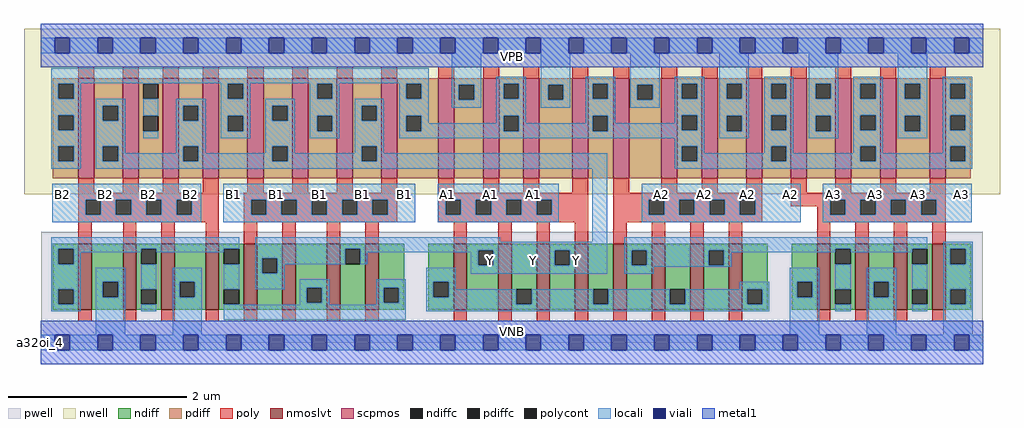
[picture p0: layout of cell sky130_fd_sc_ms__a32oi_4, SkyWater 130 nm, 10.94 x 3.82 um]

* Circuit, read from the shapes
.subckt sky130_fd_sc_ms__a32oi_4 A1 A2 A3 B1 B2 VGND VNB VPB VPWR Y
XM1 VGND B2 n1 VNB sky130_fd_pr__nfet_01v8_lvt w=0.74 l=0.15 m=4
XM2 Y B1 n1 VNB sky130_fd_pr__nfet_01v8_lvt w=0.74 l=0.15 m=4
XM3 Y A1 n2 VNB sky130_fd_pr__nfet_01v8_lvt w=0.74 l=0.15 m=4
XM4 n3 A2 n2 VNB sky130_fd_pr__nfet_01v8_lvt w=0.74 l=0.15 m=4
XM5 n3 A3 VGND VNB sky130_fd_pr__nfet_01v8_lvt w=0.74 l=0.15 m=4
XM6 Y B2 n4 VPB sky130_fd_pr__pfet_01v8 w=1.12 l=0.18 m=4
XM7 Y B1 n4 VPB sky130_fd_pr__pfet_01v8 w=1.12 l=0.18 m=4
XM8 VPWR A1 n4 VPB sky130_fd_pr__pfet_01v8 w=1.12 l=0.18 m=4
XM9 VPWR A2 n4 VPB sky130_fd_pr__pfet_01v8 w=1.12 l=0.18 m=4
XM10 VPWR A3 n4 VPB sky130_fd_pr__pfet_01v8 w=1.12 l=0.18 m=4
.ends

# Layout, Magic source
magic
tech sky130A
magscale 1 2
<< nwell >>
rect -38 332 2150 704
<< pwell >>
rect 1 49 2111 248
rect 0 0 2112 49
<< scpmos >>
rect 84 368 120 592
rect 183 368 219 592
rect 273 368 309 592
rect 363 368 399 592
rect 463 368 499 592
rect 563 368 599 592
rect 663 368 699 592
rect 763 368 799 592
rect 891 368 927 592
rect 991 368 1027 592
rect 1081 368 1117 592
rect 1191 368 1227 592
rect 1283 368 1319 592
rect 1391 368 1427 592
rect 1481 368 1517 592
rect 1581 368 1617 592
rect 1681 368 1717 592
rect 1781 368 1817 592
rect 1881 368 1917 592
rect 1992 368 2028 592
<< nmoslvt >>
rect 84 74 114 222
rect 184 74 214 222
rect 270 74 300 222
rect 369 74 399 222
rect 455 74 485 222
rect 541 74 571 222
rect 641 74 671 222
rect 727 74 757 222
rect 925 74 955 222
rect 1025 74 1055 222
rect 1111 74 1141 222
rect 1197 74 1227 222
rect 1283 74 1313 222
rect 1369 74 1399 222
rect 1456 74 1486 222
rect 1542 74 1572 222
rect 1740 74 1770 222
rect 1826 74 1856 222
rect 1912 74 1942 222
rect 1998 74 2028 222
<< ndiff >>
rect 27 210 84 222
rect 27 176 39 210
rect 73 176 84 210
rect 27 120 84 176
rect 27 86 39 120
rect 73 86 84 120
rect 27 74 84 86
rect 114 136 184 222
rect 114 102 139 136
rect 173 102 184 136
rect 114 74 184 102
rect 214 210 270 222
rect 214 176 225 210
rect 259 176 270 210
rect 214 120 270 176
rect 214 86 225 120
rect 259 86 270 120
rect 214 74 270 86
rect 300 136 369 222
rect 300 102 311 136
rect 345 102 369 136
rect 300 74 369 102
rect 399 210 455 222
rect 399 176 410 210
rect 444 176 455 210
rect 399 120 455 176
rect 399 86 410 120
rect 444 86 455 120
rect 399 74 455 86
rect 485 189 541 222
rect 485 155 496 189
rect 530 155 541 189
rect 485 74 541 155
rect 571 123 641 222
rect 571 89 596 123
rect 630 89 641 123
rect 571 74 641 89
rect 671 210 727 222
rect 671 176 682 210
rect 716 176 727 210
rect 671 74 727 176
rect 757 123 814 222
rect 757 89 768 123
rect 802 89 814 123
rect 757 74 814 89
rect 868 136 925 222
rect 868 102 880 136
rect 914 102 925 136
rect 868 74 925 102
rect 955 207 1025 222
rect 955 173 980 207
rect 1014 173 1025 207
rect 955 74 1025 173
rect 1055 120 1111 222
rect 1055 86 1066 120
rect 1100 86 1111 120
rect 1055 74 1111 86
rect 1141 207 1197 222
rect 1141 173 1152 207
rect 1186 173 1197 207
rect 1141 74 1197 173
rect 1227 120 1283 222
rect 1227 86 1238 120
rect 1272 86 1283 120
rect 1227 74 1283 86
rect 1313 207 1369 222
rect 1313 173 1324 207
rect 1358 173 1369 207
rect 1313 74 1369 173
rect 1399 120 1456 222
rect 1399 86 1410 120
rect 1444 86 1456 120
rect 1399 74 1456 86
rect 1486 207 1542 222
rect 1486 173 1497 207
rect 1531 173 1542 207
rect 1486 74 1542 173
rect 1572 120 1629 222
rect 1572 86 1583 120
rect 1617 86 1629 120
rect 1572 74 1629 86
rect 1683 136 1740 222
rect 1683 102 1695 136
rect 1729 102 1740 136
rect 1683 74 1740 102
rect 1770 210 1826 222
rect 1770 176 1781 210
rect 1815 176 1826 210
rect 1770 120 1826 176
rect 1770 86 1781 120
rect 1815 86 1826 120
rect 1770 74 1826 86
rect 1856 136 1912 222
rect 1856 102 1867 136
rect 1901 102 1912 136
rect 1856 74 1912 102
rect 1942 210 1998 222
rect 1942 176 1953 210
rect 1987 176 1998 210
rect 1942 120 1998 176
rect 1942 86 1953 120
rect 1987 86 1998 120
rect 1942 74 1998 86
rect 2028 210 2085 222
rect 2028 176 2039 210
rect 2073 176 2085 210
rect 2028 120 2085 176
rect 2028 86 2039 120
rect 2073 86 2085 120
rect 2028 74 2085 86
<< pdiff >>
rect 27 580 84 592
rect 27 546 39 580
rect 73 546 84 580
rect 27 510 84 546
rect 27 476 39 510
rect 73 476 84 510
rect 27 440 84 476
rect 27 406 39 440
rect 73 406 84 440
rect 27 368 84 406
rect 120 531 183 592
rect 120 497 139 531
rect 173 497 183 531
rect 120 440 183 497
rect 120 406 139 440
rect 173 406 183 440
rect 120 368 183 406
rect 219 580 273 592
rect 219 546 229 580
rect 263 546 273 580
rect 219 508 273 546
rect 219 474 229 508
rect 263 474 273 508
rect 219 368 273 474
rect 309 531 363 592
rect 309 497 319 531
rect 353 497 363 531
rect 309 440 363 497
rect 309 406 319 440
rect 353 406 363 440
rect 309 368 363 406
rect 399 580 463 592
rect 399 546 419 580
rect 453 546 463 580
rect 399 508 463 546
rect 399 474 419 508
rect 453 474 463 508
rect 399 368 463 474
rect 499 531 563 592
rect 499 497 519 531
rect 553 497 563 531
rect 499 440 563 497
rect 499 406 519 440
rect 553 406 563 440
rect 499 368 563 406
rect 599 580 663 592
rect 599 546 619 580
rect 653 546 663 580
rect 599 508 663 546
rect 599 474 619 508
rect 653 474 663 508
rect 599 368 663 474
rect 699 531 763 592
rect 699 497 719 531
rect 753 497 763 531
rect 699 440 763 497
rect 699 406 719 440
rect 753 406 763 440
rect 699 368 763 406
rect 799 580 891 592
rect 799 546 819 580
rect 853 546 891 580
rect 799 508 891 546
rect 799 474 819 508
rect 853 474 891 508
rect 799 368 891 474
rect 927 578 991 592
rect 927 544 937 578
rect 971 544 991 578
rect 927 368 991 544
rect 1027 580 1081 592
rect 1027 546 1037 580
rect 1071 546 1081 580
rect 1027 508 1081 546
rect 1027 474 1037 508
rect 1071 474 1081 508
rect 1027 368 1081 474
rect 1117 578 1191 592
rect 1117 544 1137 578
rect 1171 544 1191 578
rect 1117 368 1191 544
rect 1227 580 1283 592
rect 1227 546 1237 580
rect 1271 546 1283 580
rect 1227 508 1283 546
rect 1227 474 1237 508
rect 1271 474 1283 508
rect 1227 368 1283 474
rect 1319 578 1391 592
rect 1319 544 1337 578
rect 1371 544 1391 578
rect 1319 368 1391 544
rect 1427 580 1481 592
rect 1427 546 1437 580
rect 1471 546 1481 580
rect 1427 510 1481 546
rect 1427 476 1437 510
rect 1471 476 1481 510
rect 1427 440 1481 476
rect 1427 406 1437 440
rect 1471 406 1481 440
rect 1427 368 1481 406
rect 1517 580 1581 592
rect 1517 546 1537 580
rect 1571 546 1581 580
rect 1517 508 1581 546
rect 1517 474 1537 508
rect 1571 474 1581 508
rect 1517 368 1581 474
rect 1617 580 1681 592
rect 1617 546 1637 580
rect 1671 546 1681 580
rect 1617 510 1681 546
rect 1617 476 1637 510
rect 1671 476 1681 510
rect 1617 440 1681 476
rect 1617 406 1637 440
rect 1671 406 1681 440
rect 1617 368 1681 406
rect 1717 580 1781 592
rect 1717 546 1737 580
rect 1771 546 1781 580
rect 1717 508 1781 546
rect 1717 474 1737 508
rect 1771 474 1781 508
rect 1717 368 1781 474
rect 1817 580 1881 592
rect 1817 546 1837 580
rect 1871 546 1881 580
rect 1817 510 1881 546
rect 1817 476 1837 510
rect 1871 476 1881 510
rect 1817 440 1881 476
rect 1817 406 1837 440
rect 1871 406 1881 440
rect 1817 368 1881 406
rect 1917 580 1992 592
rect 1917 546 1937 580
rect 1971 546 1992 580
rect 1917 508 1992 546
rect 1917 474 1937 508
rect 1971 474 1992 508
rect 1917 368 1992 474
rect 2028 580 2084 592
rect 2028 546 2038 580
rect 2072 546 2084 580
rect 2028 510 2084 546
rect 2028 476 2038 510
rect 2072 476 2084 510
rect 2028 440 2084 476
rect 2028 406 2038 440
rect 2072 406 2084 440
rect 2028 368 2084 406
<< ndiffc >>
rect 39 176 73 210
rect 39 86 73 120
rect 139 102 173 136
rect 225 176 259 210
rect 225 86 259 120
rect 311 102 345 136
rect 410 176 444 210
rect 410 86 444 120
rect 496 155 530 189
rect 596 89 630 123
rect 682 176 716 210
rect 768 89 802 123
rect 880 102 914 136
rect 980 173 1014 207
rect 1066 86 1100 120
rect 1152 173 1186 207
rect 1238 86 1272 120
rect 1324 173 1358 207
rect 1410 86 1444 120
rect 1497 173 1531 207
rect 1583 86 1617 120
rect 1695 102 1729 136
rect 1781 176 1815 210
rect 1781 86 1815 120
rect 1867 102 1901 136
rect 1953 176 1987 210
rect 1953 86 1987 120
rect 2039 176 2073 210
rect 2039 86 2073 120
<< pdiffc >>
rect 39 546 73 580
rect 39 476 73 510
rect 39 406 73 440
rect 139 497 173 531
rect 139 406 173 440
rect 229 546 263 580
rect 229 474 263 508
rect 319 497 353 531
rect 319 406 353 440
rect 419 546 453 580
rect 419 474 453 508
rect 519 497 553 531
rect 519 406 553 440
rect 619 546 653 580
rect 619 474 653 508
rect 719 497 753 531
rect 719 406 753 440
rect 819 546 853 580
rect 819 474 853 508
rect 937 544 971 578
rect 1037 546 1071 580
rect 1037 474 1071 508
rect 1137 544 1171 578
rect 1237 546 1271 580
rect 1237 474 1271 508
rect 1337 544 1371 578
rect 1437 546 1471 580
rect 1437 476 1471 510
rect 1437 406 1471 440
rect 1537 546 1571 580
rect 1537 474 1571 508
rect 1637 546 1671 580
rect 1637 476 1671 510
rect 1637 406 1671 440
rect 1737 546 1771 580
rect 1737 474 1771 508
rect 1837 546 1871 580
rect 1837 476 1871 510
rect 1837 406 1871 440
rect 1937 546 1971 580
rect 1937 474 1971 508
rect 2038 546 2072 580
rect 2038 476 2072 510
rect 2038 406 2072 440
<< poly >>
rect 84 592 120 618
rect 183 592 219 618
rect 273 592 309 618
rect 363 592 399 618
rect 463 592 499 618
rect 563 592 599 618
rect 663 592 699 618
rect 763 592 799 618
rect 891 592 927 618
rect 991 592 1027 618
rect 1081 592 1117 618
rect 1191 592 1227 618
rect 1283 592 1319 618
rect 1391 592 1427 618
rect 1481 592 1517 618
rect 1581 592 1617 618
rect 1681 592 1717 618
rect 1781 592 1817 618
rect 1881 592 1917 618
rect 1992 592 2028 618
rect 84 336 120 368
rect 183 336 219 368
rect 273 336 309 368
rect 363 336 399 368
rect 463 336 499 368
rect 563 336 599 368
rect 663 336 699 368
rect 763 336 799 368
rect 84 320 399 336
rect 84 286 100 320
rect 134 286 168 320
rect 202 286 236 320
rect 270 286 304 320
rect 338 286 399 320
rect 84 270 399 286
rect 84 222 114 270
rect 184 222 214 270
rect 270 222 300 270
rect 369 222 399 270
rect 455 320 799 336
rect 455 286 471 320
rect 505 286 539 320
rect 573 286 607 320
rect 641 286 675 320
rect 709 286 743 320
rect 777 286 799 320
rect 455 270 799 286
rect 891 336 927 368
rect 991 336 1027 368
rect 1081 336 1117 368
rect 1191 336 1227 368
rect 891 320 1227 336
rect 891 286 907 320
rect 941 286 975 320
rect 1009 286 1043 320
rect 1077 286 1111 320
rect 1145 286 1227 320
rect 891 270 1227 286
rect 455 222 485 270
rect 541 222 571 270
rect 641 222 671 270
rect 727 222 757 270
rect 925 222 955 270
rect 1025 222 1055 270
rect 1111 222 1141 270
rect 1197 222 1227 270
rect 1283 336 1319 368
rect 1391 336 1427 368
rect 1481 336 1517 368
rect 1581 336 1617 368
rect 1283 320 1617 336
rect 1283 286 1363 320
rect 1397 286 1431 320
rect 1465 286 1499 320
rect 1533 286 1567 320
rect 1601 286 1617 320
rect 1681 336 1717 368
rect 1781 336 1817 368
rect 1881 336 1917 368
rect 1992 336 2028 368
rect 1681 320 2028 336
rect 1681 306 1769 320
rect 1283 270 1617 286
rect 1740 286 1769 306
rect 1803 286 1837 320
rect 1871 286 1905 320
rect 1939 286 1973 320
rect 2007 286 2028 320
rect 1740 270 2028 286
rect 1283 222 1313 270
rect 1369 222 1399 270
rect 1456 222 1486 270
rect 1542 222 1572 270
rect 1740 222 1770 270
rect 1826 222 1856 270
rect 1912 222 1942 270
rect 1998 222 2028 270
rect 84 48 114 74
rect 184 48 214 74
rect 270 48 300 74
rect 369 48 399 74
rect 455 48 485 74
rect 541 48 571 74
rect 641 48 671 74
rect 727 48 757 74
rect 925 48 955 74
rect 1025 48 1055 74
rect 1111 48 1141 74
rect 1197 48 1227 74
rect 1283 48 1313 74
rect 1369 48 1399 74
rect 1456 48 1486 74
rect 1542 48 1572 74
rect 1740 48 1770 74
rect 1826 48 1856 74
rect 1912 48 1942 74
rect 1998 48 2028 74
<< polycont >>
rect 100 286 134 320
rect 168 286 202 320
rect 236 286 270 320
rect 304 286 338 320
rect 471 286 505 320
rect 539 286 573 320
rect 607 286 641 320
rect 675 286 709 320
rect 743 286 777 320
rect 907 286 941 320
rect 975 286 1009 320
rect 1043 286 1077 320
rect 1111 286 1145 320
rect 1363 286 1397 320
rect 1431 286 1465 320
rect 1499 286 1533 320
rect 1567 286 1601 320
rect 1769 286 1803 320
rect 1837 286 1871 320
rect 1905 286 1939 320
rect 1973 286 2007 320
<< locali >>
rect 0 649 31 683
rect 65 649 127 683
rect 161 649 223 683
rect 257 649 319 683
rect 353 649 415 683
rect 449 649 511 683
rect 545 649 607 683
rect 641 649 703 683
rect 737 649 799 683
rect 833 649 895 683
rect 929 649 991 683
rect 1025 649 1087 683
rect 1121 649 1183 683
rect 1217 649 1279 683
rect 1313 649 1375 683
rect 1409 649 1471 683
rect 1505 649 1567 683
rect 1601 649 1663 683
rect 1697 649 1759 683
rect 1793 649 1855 683
rect 1889 649 1951 683
rect 1985 649 2047 683
rect 2081 649 2112 683
rect 23 581 869 615
rect 23 580 89 581
rect 23 546 39 580
rect 73 546 89 580
rect 229 580 263 581
rect 23 510 89 546
rect 23 476 39 510
rect 73 476 89 510
rect 23 440 89 476
rect 23 406 39 440
rect 73 406 89 440
rect 23 390 89 406
rect 123 531 189 547
rect 123 497 139 531
rect 173 497 189 531
rect 123 440 189 497
rect 403 580 469 581
rect 229 508 263 546
rect 229 458 263 474
rect 303 531 369 547
rect 303 497 319 531
rect 353 497 369 531
rect 123 406 139 440
rect 173 424 189 440
rect 303 440 369 497
rect 403 546 419 580
rect 453 546 469 580
rect 603 580 669 581
rect 403 508 469 546
rect 403 474 419 508
rect 453 474 469 508
rect 403 458 469 474
rect 503 531 569 547
rect 503 497 519 531
rect 553 497 569 531
rect 303 424 319 440
rect 173 406 319 424
rect 353 424 369 440
rect 503 440 569 497
rect 603 546 619 580
rect 653 546 669 580
rect 803 580 869 581
rect 603 508 669 546
rect 603 474 619 508
rect 653 474 669 508
rect 603 458 669 474
rect 703 531 769 547
rect 703 497 719 531
rect 753 497 769 531
rect 503 424 519 440
rect 353 406 519 424
rect 553 424 569 440
rect 703 440 769 497
rect 803 546 819 580
rect 853 546 869 580
rect 803 508 869 546
rect 921 578 987 649
rect 921 544 937 578
rect 971 544 987 578
rect 921 526 987 544
rect 1021 580 1087 596
rect 1021 546 1037 580
rect 1071 546 1087 580
rect 803 474 819 508
rect 853 492 869 508
rect 1021 508 1087 546
rect 1121 578 1187 649
rect 1121 544 1137 578
rect 1171 544 1187 578
rect 1121 526 1187 544
rect 1221 580 1287 596
rect 1221 546 1237 580
rect 1271 546 1287 580
rect 1021 492 1037 508
rect 853 474 1037 492
rect 1071 492 1087 508
rect 1221 508 1287 546
rect 1321 578 1387 649
rect 1321 544 1337 578
rect 1371 544 1387 578
rect 1321 526 1387 544
rect 1421 580 1487 596
rect 1421 546 1437 580
rect 1471 546 1487 580
rect 1221 492 1237 508
rect 1071 474 1237 492
rect 1271 492 1287 508
rect 1421 510 1487 546
rect 1421 492 1437 510
rect 1271 476 1437 492
rect 1471 476 1487 510
rect 1271 474 1487 476
rect 803 458 1487 474
rect 1521 580 1587 649
rect 1521 546 1537 580
rect 1571 546 1587 580
rect 1521 508 1587 546
rect 1521 474 1537 508
rect 1571 474 1587 508
rect 1521 458 1587 474
rect 1621 580 1687 596
rect 1621 546 1637 580
rect 1671 546 1687 580
rect 1621 510 1687 546
rect 1621 476 1637 510
rect 1671 476 1687 510
rect 703 424 719 440
rect 553 406 719 424
rect 753 424 769 440
rect 1421 440 1487 458
rect 753 406 1270 424
rect 123 390 1270 406
rect 1421 406 1437 440
rect 1471 424 1487 440
rect 1621 440 1687 476
rect 1721 580 1787 649
rect 1721 546 1737 580
rect 1771 546 1787 580
rect 1721 508 1787 546
rect 1721 474 1737 508
rect 1771 474 1787 508
rect 1721 458 1787 474
rect 1821 580 1887 596
rect 1821 546 1837 580
rect 1871 546 1887 580
rect 1821 510 1887 546
rect 1821 476 1837 510
rect 1871 476 1887 510
rect 1621 424 1637 440
rect 1471 406 1637 424
rect 1671 424 1687 440
rect 1821 440 1887 476
rect 1921 580 1987 649
rect 1921 546 1937 580
rect 1971 546 1987 580
rect 1921 508 1987 546
rect 1921 474 1937 508
rect 1971 474 1987 508
rect 1921 458 1987 474
rect 2022 580 2088 596
rect 2022 546 2038 580
rect 2072 546 2088 580
rect 2022 510 2088 546
rect 2022 476 2038 510
rect 2072 476 2088 510
rect 1821 424 1837 440
rect 1671 406 1837 424
rect 1871 424 1887 440
rect 2022 440 2088 476
rect 2022 424 2038 440
rect 1871 406 2038 424
rect 2072 406 2088 440
rect 1421 390 2088 406
rect 25 320 359 356
rect 25 286 100 320
rect 134 286 168 320
rect 202 286 236 320
rect 270 286 304 320
rect 338 286 359 320
rect 25 270 359 286
rect 409 320 839 356
rect 409 286 471 320
rect 505 286 539 320
rect 573 286 607 320
rect 641 286 675 320
rect 709 286 743 320
rect 777 286 839 320
rect 409 270 839 286
rect 889 320 1161 356
rect 889 286 907 320
rect 941 286 975 320
rect 1009 286 1043 320
rect 1077 286 1111 320
rect 1145 286 1161 320
rect 889 270 1161 286
rect 23 210 444 236
rect 23 176 39 210
rect 73 202 225 210
rect 73 176 89 202
rect 23 120 89 176
rect 259 202 410 210
rect 23 86 39 120
rect 73 86 89 120
rect 23 70 89 86
rect 123 136 189 168
rect 123 102 139 136
rect 173 102 189 136
rect 123 17 189 102
rect 225 120 259 176
rect 225 70 259 86
rect 295 136 361 168
rect 295 102 311 136
rect 345 102 361 136
rect 295 17 361 102
rect 410 120 444 176
rect 480 226 1030 236
rect 1236 226 1270 390
rect 1347 320 1703 356
rect 1347 286 1363 320
rect 1397 286 1431 320
rect 1465 286 1499 320
rect 1533 286 1567 320
rect 1601 286 1703 320
rect 1347 270 1703 286
rect 1753 320 2087 356
rect 1753 286 1769 320
rect 1803 286 1837 320
rect 1871 286 1905 320
rect 1939 286 1973 320
rect 2007 286 2087 320
rect 1753 270 2087 286
rect 480 210 1270 226
rect 480 189 682 210
rect 480 155 496 189
rect 530 176 682 189
rect 716 207 1270 210
rect 716 202 980 207
rect 716 176 732 202
rect 530 155 546 176
rect 964 173 980 202
rect 1014 173 1152 207
rect 1186 173 1270 207
rect 480 119 546 155
rect 580 123 646 142
rect 410 85 444 86
rect 580 89 596 123
rect 630 89 646 123
rect 580 85 646 89
rect 752 123 818 142
rect 752 89 768 123
rect 802 89 818 123
rect 752 85 818 89
rect 410 51 818 85
rect 864 136 930 168
rect 964 154 1270 173
rect 1308 210 1987 236
rect 1308 207 1781 210
rect 1308 173 1324 207
rect 1358 173 1497 207
rect 1531 202 1781 207
rect 1531 173 1547 202
rect 1308 170 1547 173
rect 1815 202 1953 210
rect 1308 154 1374 170
rect 1679 136 1745 168
rect 864 102 880 136
rect 914 120 930 136
rect 1567 120 1633 136
rect 914 102 1066 120
rect 864 86 1066 102
rect 1100 86 1238 120
rect 1272 86 1410 120
rect 1444 86 1583 120
rect 1617 86 1633 120
rect 864 70 1633 86
rect 1679 102 1695 136
rect 1729 102 1745 136
rect 1679 17 1745 102
rect 1781 120 1815 176
rect 1781 70 1815 86
rect 1851 136 1917 168
rect 1851 102 1867 136
rect 1901 102 1917 136
rect 1851 17 1917 102
rect 1953 120 1987 176
rect 1953 70 1987 86
rect 2023 210 2089 226
rect 2023 176 2039 210
rect 2073 176 2089 210
rect 2023 120 2089 176
rect 2023 86 2039 120
rect 2073 86 2089 120
rect 2023 17 2089 86
rect 0 -17 31 17
rect 65 -17 127 17
rect 161 -17 223 17
rect 257 -17 319 17
rect 353 -17 415 17
rect 449 -17 511 17
rect 545 -17 607 17
rect 641 -17 703 17
rect 737 -17 799 17
rect 833 -17 895 17
rect 929 -17 991 17
rect 1025 -17 1087 17
rect 1121 -17 1183 17
rect 1217 -17 1279 17
rect 1313 -17 1375 17
rect 1409 -17 1471 17
rect 1505 -17 1567 17
rect 1601 -17 1663 17
rect 1697 -17 1759 17
rect 1793 -17 1855 17
rect 1889 -17 1951 17
rect 1985 -17 2047 17
rect 2081 -17 2112 17
<< viali >>
rect 31 649 65 683
rect 127 649 161 683
rect 223 649 257 683
rect 319 649 353 683
rect 415 649 449 683
rect 511 649 545 683
rect 607 649 641 683
rect 703 649 737 683
rect 799 649 833 683
rect 895 649 929 683
rect 991 649 1025 683
rect 1087 649 1121 683
rect 1183 649 1217 683
rect 1279 649 1313 683
rect 1375 649 1409 683
rect 1471 649 1505 683
rect 1567 649 1601 683
rect 1663 649 1697 683
rect 1759 649 1793 683
rect 1855 649 1889 683
rect 1951 649 1985 683
rect 2047 649 2081 683
rect 31 -17 65 17
rect 127 -17 161 17
rect 223 -17 257 17
rect 319 -17 353 17
rect 415 -17 449 17
rect 511 -17 545 17
rect 607 -17 641 17
rect 703 -17 737 17
rect 799 -17 833 17
rect 895 -17 929 17
rect 991 -17 1025 17
rect 1087 -17 1121 17
rect 1183 -17 1217 17
rect 1279 -17 1313 17
rect 1375 -17 1409 17
rect 1471 -17 1505 17
rect 1567 -17 1601 17
rect 1663 -17 1697 17
rect 1759 -17 1793 17
rect 1855 -17 1889 17
rect 1951 -17 1985 17
rect 2047 -17 2081 17
<< metal1 >>
rect 0 683 2112 715
rect 0 649 31 683
rect 65 649 127 683
rect 161 649 223 683
rect 257 649 319 683
rect 353 649 415 683
rect 449 649 511 683
rect 545 649 607 683
rect 641 649 703 683
rect 737 649 799 683
rect 833 649 895 683
rect 929 649 991 683
rect 1025 649 1087 683
rect 1121 649 1183 683
rect 1217 649 1279 683
rect 1313 649 1375 683
rect 1409 649 1471 683
rect 1505 649 1567 683
rect 1601 649 1663 683
rect 1697 649 1759 683
rect 1793 649 1855 683
rect 1889 649 1951 683
rect 1985 649 2047 683
rect 2081 649 2112 683
rect 0 617 2112 649
rect 0 17 2112 49
rect 0 -17 31 17
rect 65 -17 127 17
rect 161 -17 223 17
rect 257 -17 319 17
rect 353 -17 415 17
rect 449 -17 511 17
rect 545 -17 607 17
rect 641 -17 703 17
rect 737 -17 799 17
rect 833 -17 895 17
rect 929 -17 991 17
rect 1025 -17 1087 17
rect 1121 -17 1183 17
rect 1217 -17 1279 17
rect 1313 -17 1375 17
rect 1409 -17 1471 17
rect 1505 -17 1567 17
rect 1601 -17 1663 17
rect 1697 -17 1759 17
rect 1793 -17 1855 17
rect 1889 -17 1951 17
rect 1985 -17 2047 17
rect 2081 -17 2112 17
rect 0 -49 2112 -17
<< labels >>
flabel pwell s 0 0 2112 49 0 FreeSans 200 0 0 0 VNB
port 7 nsew ground bidirectional
flabel nwell s 0 617 2112 666 0 FreeSans 200 0 0 0 VPB
port 8 nsew power bidirectional
rlabel comment s 0 0 0 0 4 a32oi_4
flabel metal1 s 0 617 2112 666 0 FreeSans 340 0 0 0 VPWR
port 9 nsew power bidirectional
flabel metal1 s 0 0 2112 49 0 FreeSans 340 0 0 0 VGND
port 6 nsew ground bidirectional
flabel locali s 31 316 65 350 0 FreeSans 340 0 0 0 B2
port 5 nsew signal input
flabel locali s 127 316 161 350 0 FreeSans 340 0 0 0 B2
port 5 nsew signal input
flabel locali s 223 316 257 350 0 FreeSans 340 0 0 0 B2
port 5 nsew signal input
flabel locali s 319 316 353 350 0 FreeSans 340 0 0 0 B2
port 5 nsew signal input
flabel locali s 415 316 449 350 0 FreeSans 340 0 0 0 B1
port 4 nsew signal input
flabel locali s 511 316 545 350 0 FreeSans 340 0 0 0 B1
port 4 nsew signal input
flabel locali s 607 316 641 350 0 FreeSans 340 0 0 0 B1
port 4 nsew signal input
flabel locali s 703 316 737 350 0 FreeSans 340 0 0 0 B1
port 4 nsew signal input
flabel locali s 799 316 833 350 0 FreeSans 340 0 0 0 B1
port 4 nsew signal input
flabel locali s 1759 316 1793 350 0 FreeSans 340 0 0 0 A3
port 3 nsew signal input
flabel locali s 1855 316 1889 350 0 FreeSans 340 0 0 0 A3
port 3 nsew signal input
flabel locali s 1951 316 1985 350 0 FreeSans 340 0 0 0 A3
port 3 nsew signal input
flabel locali s 2047 316 2081 350 0 FreeSans 340 0 0 0 A3
port 3 nsew signal input
flabel locali s 1375 316 1409 350 0 FreeSans 340 0 0 0 A2
port 2 nsew signal input
flabel locali s 1471 316 1505 350 0 FreeSans 340 0 0 0 A2
port 2 nsew signal input
flabel locali s 1567 316 1601 350 0 FreeSans 340 0 0 0 A2
port 2 nsew signal input
flabel locali s 1663 316 1697 350 0 FreeSans 340 0 0 0 A2
port 2 nsew signal input
flabel locali s 895 316 929 350 0 FreeSans 340 0 0 0 A1
port 1 nsew signal input
flabel locali s 991 316 1025 350 0 FreeSans 340 0 0 0 A1
port 1 nsew signal input
flabel locali s 1087 316 1121 350 0 FreeSans 340 0 0 0 A1
port 1 nsew signal input
flabel locali s 991 168 1025 202 0 FreeSans 340 0 0 0 Y
port 10 nsew signal output
flabel locali s 1087 168 1121 202 0 FreeSans 340 0 0 0 Y
port 10 nsew signal output
flabel locali s 1183 168 1217 202 0 FreeSans 340 0 0 0 Y
port 10 nsew signal output
<< properties >>
string LEFsite unit
string LEFclass CORE
string FIXED_BBOX 0 0 2112 666
string GDS_FILE $PDKPATH/libs.ref/sky130_fd_sc_ms/gds/sky130_fd_sc_ms.gds
string LEFsymmetry X Y
string GDS_END 67956
string GDS_START 51380
<< end >>
